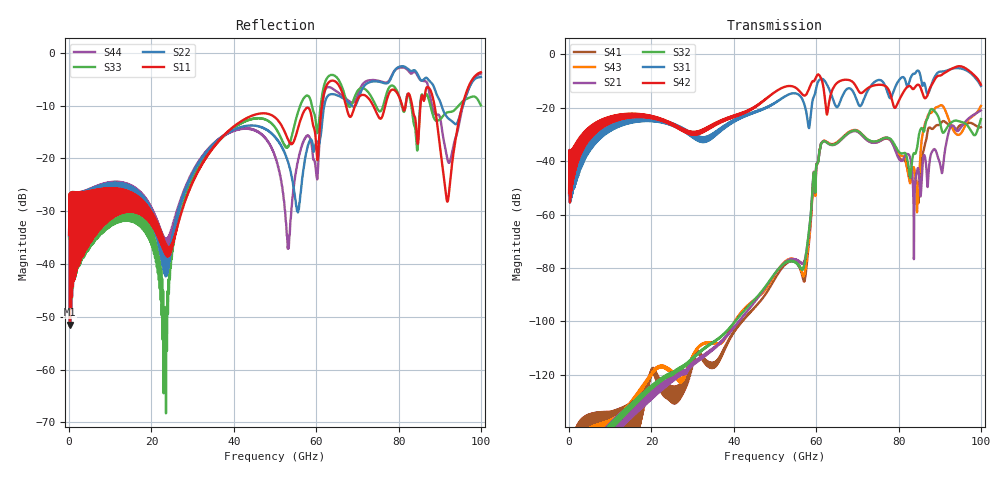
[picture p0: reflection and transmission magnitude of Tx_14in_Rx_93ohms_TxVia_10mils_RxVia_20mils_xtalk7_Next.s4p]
! Info: Touchstone file created by Circ.  Input file=Tx_14in_Rx_93ohms_TxVia_10mils_RxVia_20mils.circ
# Hz S RI R 50
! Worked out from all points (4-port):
!   10000 points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, 10 MHz to 100 GHz, reference 50 ohm
!   strongest paths, dB at 10 MHz, 25.01 GHz, 50.01 GHz, 75.01 GHz, 100 GHz:
!     S42: -52.0, -25.8, -14.1, -11.4, -11.4
!     S31: -52.8, -25.8, -18.1, -9.7, -11.9
!     S32: -, -119.3, -81.9, -32.4, -24.3
!     S21: -, -121.9, -82.1, -32.8, -21.0
!     S43: -153.9, -119.0, -82.5, -32.4, -19.3
!     S41: -154.0, -129.1, -83.9, -32.9, -27.3
!   lowest |S11| = -51.5 dB at 230 MHz (marker M1), VSWR 1.01, Z = 49.8 - j0.166 ohm
!   |S11| at or under -10 dB: start of sweep to 61.4 GHz; 73.86 GHz to 76.78 GHz (2.924 GHz wide, 3.88 % of centre); 88.75 GHz to 95.49 GHz (6.741 GHz wide, 7.32 % of centre)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
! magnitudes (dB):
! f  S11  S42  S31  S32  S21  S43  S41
! 10 MHz  -34.5  -52.0  -52.8  -  -  -153.9  -154.0
! 230 MHz  -51.5  -48.6  -48.6  -177.5  -182.1  -169.7  -157.8
! 23.37 GHz  -38.1  -24.7  -24.9  -120.7  -124.2  -117.4  -128.5
! 56.96 GHz  -11.2  -15.4  -17.9  -80.0  -78.3  -83.2  -84.8
! 61.64 GHz  -8.7  -11.3  -9.3  -32.7  -32.7  -32.6  -32.6
! 84.51 GHz  -16.3  -11.5  -6.2  -34.9  -43.6  -58.9  -50.8
! 100 GHz  -3.7  -11.4  -11.9  -24.3  -21.0  -19.3  -27.3
